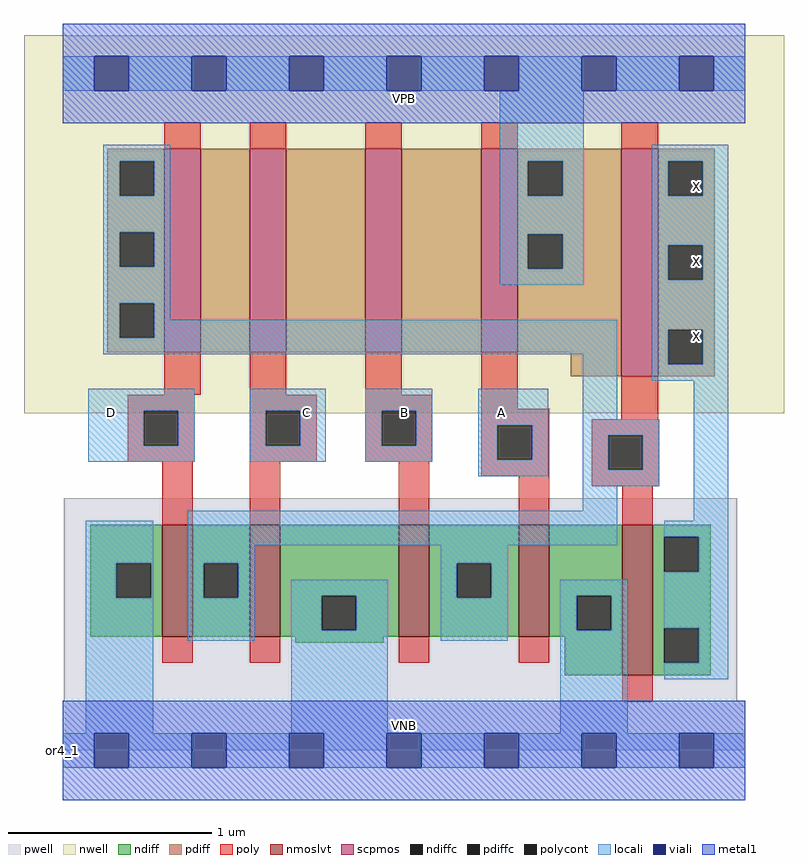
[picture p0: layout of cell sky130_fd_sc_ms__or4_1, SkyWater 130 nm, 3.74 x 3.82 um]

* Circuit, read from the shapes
.subckt sky130_fd_sc_ms__or4_1 A B C D VGND VNB VPB VPWR X
XM1 n1 D VGND VNB sky130_fd_pr__nfet_01v8_lvt w=0.55 l=0.15
XM2 VGND C n1 VNB sky130_fd_pr__nfet_01v8_lvt w=0.55 l=0.15
XM3 n1 B VGND VNB sky130_fd_pr__nfet_01v8_lvt w=0.55 l=0.15
XM4 VGND A n1 VNB sky130_fd_pr__nfet_01v8_lvt w=0.55 l=0.15
XM5 X n1 VGND VNB sky130_fd_pr__nfet_01v8_lvt w=0.74 l=0.15
XM6 n2 D n1 VPB sky130_fd_pr__pfet_01v8 w=1 l=0.18
XM7 n3 C n2 VPB sky130_fd_pr__pfet_01v8 w=1 l=0.18
XM8 n4 B n3 VPB sky130_fd_pr__pfet_01v8 w=1 l=0.18
XM9 VPWR A n4 VPB sky130_fd_pr__pfet_01v8 w=1 l=0.18
XM10 X n1 VPWR VPB sky130_fd_pr__pfet_01v8 w=1.12 l=0.18
.ends

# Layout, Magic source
magic
tech sky130A
magscale 1 2
<< nwell >>
rect -38 332 710 704
<< pwell >>
rect 1 49 664 248
rect 0 0 672 49
<< scpmos >>
rect 100 392 136 592
rect 184 392 220 592
rect 298 392 334 592
rect 412 392 448 592
rect 550 368 586 592
<< nmoslvt >>
rect 98 112 128 222
rect 184 112 214 222
rect 331 112 361 222
rect 449 112 479 222
rect 551 74 581 222
<< ndiff >>
rect 27 184 98 222
rect 27 150 53 184
rect 87 150 98 184
rect 27 112 98 150
rect 128 184 184 222
rect 128 150 139 184
rect 173 150 184 184
rect 128 112 184 150
rect 214 152 331 222
rect 214 118 255 152
rect 289 118 331 152
rect 214 112 331 118
rect 361 184 449 222
rect 361 150 388 184
rect 422 150 449 184
rect 361 112 449 150
rect 479 152 551 222
rect 479 118 506 152
rect 540 118 551 152
rect 479 112 551 118
rect 229 106 316 112
rect 494 74 551 112
rect 581 210 638 222
rect 581 176 592 210
rect 626 176 638 210
rect 581 120 638 176
rect 581 86 592 120
rect 626 86 638 120
rect 581 74 638 86
<< pdiff >>
rect 44 580 100 592
rect 44 546 56 580
rect 90 546 100 580
rect 44 510 100 546
rect 44 476 56 510
rect 90 476 100 510
rect 44 440 100 476
rect 44 406 56 440
rect 90 406 100 440
rect 44 392 100 406
rect 136 392 184 592
rect 220 392 298 592
rect 334 392 412 592
rect 448 580 550 592
rect 448 546 458 580
rect 492 546 550 580
rect 448 508 550 546
rect 448 474 458 508
rect 492 474 550 508
rect 448 392 550 474
rect 500 368 550 392
rect 586 580 642 592
rect 586 546 596 580
rect 630 546 642 580
rect 586 497 642 546
rect 586 463 596 497
rect 630 463 642 497
rect 586 414 642 463
rect 586 380 596 414
rect 630 380 642 414
rect 586 368 642 380
<< ndiffc >>
rect 53 150 87 184
rect 139 150 173 184
rect 255 118 289 152
rect 388 150 422 184
rect 506 118 540 152
rect 592 176 626 210
rect 592 86 626 120
<< pdiffc >>
rect 56 546 90 580
rect 56 476 90 510
rect 56 406 90 440
rect 458 546 492 580
rect 458 474 492 508
rect 596 546 630 580
rect 596 463 630 497
rect 596 380 630 414
<< poly >>
rect 100 592 136 618
rect 184 592 220 618
rect 298 592 334 618
rect 412 592 448 618
rect 550 592 586 618
rect 100 350 136 392
rect 184 350 220 392
rect 298 350 334 392
rect 64 334 130 350
rect 64 300 80 334
rect 114 300 130 334
rect 64 284 130 300
rect 184 334 250 350
rect 184 300 200 334
rect 234 300 250 334
rect 184 284 250 300
rect 298 334 364 350
rect 298 300 314 334
rect 348 300 364 334
rect 298 284 364 300
rect 412 336 448 392
rect 412 320 479 336
rect 550 326 586 368
rect 412 286 428 320
rect 462 286 479 320
rect 98 222 128 284
rect 184 222 214 284
rect 331 222 361 284
rect 412 270 479 286
rect 449 222 479 270
rect 521 310 587 326
rect 521 276 537 310
rect 571 276 587 310
rect 521 260 587 276
rect 551 222 581 260
rect 98 86 128 112
rect 184 86 214 112
rect 331 86 361 112
rect 449 86 479 112
rect 551 48 581 74
<< polycont >>
rect 80 300 114 334
rect 200 300 234 334
rect 314 300 348 334
rect 428 286 462 320
rect 537 276 571 310
<< locali >>
rect 0 649 31 683
rect 65 649 127 683
rect 161 649 223 683
rect 257 649 319 683
rect 353 649 415 683
rect 449 649 511 683
rect 545 649 607 683
rect 641 649 672 683
rect 40 580 106 596
rect 40 546 56 580
rect 90 546 106 580
rect 40 510 106 546
rect 40 476 56 510
rect 90 476 106 510
rect 40 440 106 476
rect 430 580 513 649
rect 430 546 458 580
rect 492 546 513 580
rect 430 508 513 546
rect 430 474 458 508
rect 492 474 513 508
rect 430 458 513 474
rect 580 580 655 596
rect 580 546 596 580
rect 630 546 655 580
rect 580 497 655 546
rect 580 463 596 497
rect 630 463 655 497
rect 40 406 56 440
rect 90 424 106 440
rect 90 406 546 424
rect 40 390 546 406
rect 25 334 130 356
rect 25 300 80 334
rect 114 300 130 334
rect 25 284 130 300
rect 184 334 259 356
rect 184 300 200 334
rect 234 300 259 334
rect 184 284 259 300
rect 298 334 364 356
rect 298 300 314 334
rect 348 300 364 334
rect 298 284 364 300
rect 409 320 478 356
rect 409 286 428 320
rect 462 286 478 320
rect 409 270 478 286
rect 512 326 546 390
rect 580 414 655 463
rect 580 380 596 414
rect 630 380 655 414
rect 580 364 655 380
rect 512 310 587 326
rect 512 276 537 310
rect 571 276 587 310
rect 512 260 587 276
rect 512 236 546 260
rect 23 184 89 226
rect 23 150 53 184
rect 87 150 89 184
rect 23 17 89 150
rect 123 202 546 236
rect 621 226 655 364
rect 592 210 655 226
rect 123 184 189 202
rect 123 150 139 184
rect 173 150 189 184
rect 372 184 438 202
rect 123 108 189 150
rect 225 152 320 168
rect 225 118 255 152
rect 289 118 320 152
rect 225 17 320 118
rect 372 150 388 184
rect 422 150 438 184
rect 626 176 655 210
rect 372 108 438 150
rect 490 152 556 168
rect 490 118 506 152
rect 540 118 556 152
rect 490 17 556 118
rect 592 120 655 176
rect 626 86 655 120
rect 592 70 655 86
rect 0 -17 31 17
rect 65 -17 127 17
rect 161 -17 223 17
rect 257 -17 319 17
rect 353 -17 415 17
rect 449 -17 511 17
rect 545 -17 607 17
rect 641 -17 672 17
<< viali >>
rect 31 649 65 683
rect 127 649 161 683
rect 223 649 257 683
rect 319 649 353 683
rect 415 649 449 683
rect 511 649 545 683
rect 607 649 641 683
rect 31 -17 65 17
rect 127 -17 161 17
rect 223 -17 257 17
rect 319 -17 353 17
rect 415 -17 449 17
rect 511 -17 545 17
rect 607 -17 641 17
<< metal1 >>
rect 0 683 672 715
rect 0 649 31 683
rect 65 649 127 683
rect 161 649 223 683
rect 257 649 319 683
rect 353 649 415 683
rect 449 649 511 683
rect 545 649 607 683
rect 641 649 672 683
rect 0 617 672 649
rect 0 17 672 49
rect 0 -17 31 17
rect 65 -17 127 17
rect 161 -17 223 17
rect 257 -17 319 17
rect 353 -17 415 17
rect 449 -17 511 17
rect 545 -17 607 17
rect 641 -17 672 17
rect 0 -49 672 -17
<< labels >>
flabel pwell s 0 0 672 49 0 FreeSans 200 0 0 0 VNB
port 6 nsew ground bidirectional
flabel nwell s 0 617 672 666 0 FreeSans 200 0 0 0 VPB
port 7 nsew power bidirectional
rlabel comment s 0 0 0 0 4 or4_1
flabel metal1 s 0 617 672 666 0 FreeSans 340 0 0 0 VPWR
port 8 nsew power bidirectional
flabel metal1 s 0 0 672 49 0 FreeSans 340 0 0 0 VGND
port 5 nsew ground bidirectional
flabel locali s 31 316 65 350 0 FreeSans 340 0 0 0 D
port 4 nsew signal input
flabel locali s 223 316 257 350 0 FreeSans 340 0 0 0 C
port 3 nsew signal input
flabel locali s 415 316 449 350 0 FreeSans 340 0 0 0 A
port 1 nsew signal input
flabel locali s 607 390 641 424 0 FreeSans 340 0 0 0 X
port 9 nsew signal output
flabel locali s 607 464 641 498 0 FreeSans 340 0 0 0 X
port 9 nsew signal output
flabel locali s 607 538 641 572 0 FreeSans 340 0 0 0 X
port 9 nsew signal output
flabel locali s 319 316 353 350 0 FreeSans 340 0 0 0 B
port 2 nsew signal input
<< properties >>
string LEFsite unit
string LEFclass CORE
string FIXED_BBOX 0 0 672 666
string GDS_FILE $PDKPATH/libs.ref/sky130_fd_sc_ms/gds/sky130_fd_sc_ms.gds
string LEFsymmetry X Y
string GDS_END 333352
string GDS_START 327466
<< end >>
